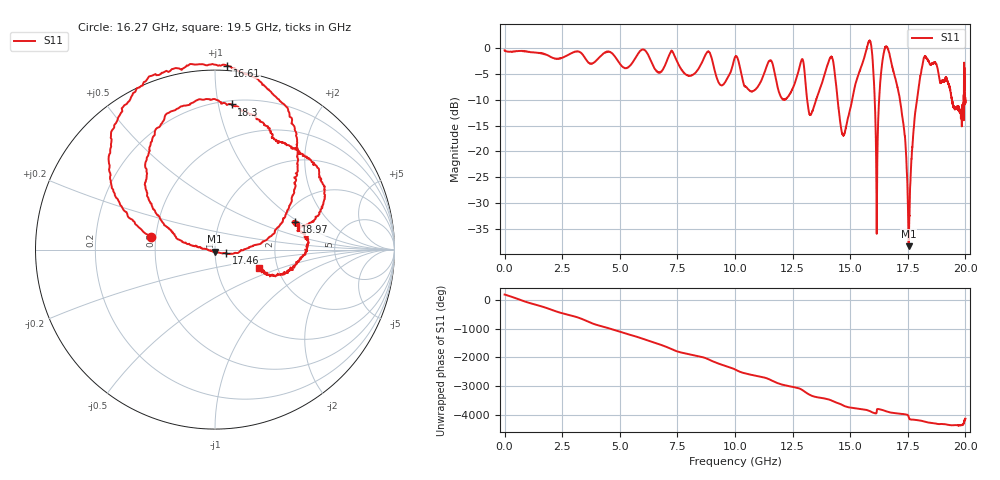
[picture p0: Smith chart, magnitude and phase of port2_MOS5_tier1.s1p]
! Created with skrf 1.8.0 (http://scikit-rf.org).
# GHz S RI R 50.0
!freq ReS11 ImS11
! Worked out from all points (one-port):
!   10000 points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, 3 MHz to 20 GHz, reference 50 ohm
!   lowest |S11| = -38.4 dB at 17.54 GHz (marker M1), VSWR 1.02, Z = 50 - j1.2 ohm
!   |S11| at or under -10 dB: 14.46 GHz to 15.09 GHz (631.8 MHz wide, 4.28 % of centre); 17.16 GHz to 17.9 GHz (737.2 MHz wide, 4.21 % of centre); 19.42 GHz to 19.93 GHz (508 MHz wide, 2.58 % of centre) (the widest 3 of 11)
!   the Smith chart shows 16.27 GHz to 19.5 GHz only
!   S11 on the Smith chart (normalised r, x): 16.27 GHz: 0.47, +0.07; 16.61 GHz: -0.03, +1.07; 17.46 GHz: 1.13, -0.05; 18.3 GHz: 0.23, +1.09; 18.97 GHz: 2.35, +0.93; 19.5 GHz: 1.60, -0.35
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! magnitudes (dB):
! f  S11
! 3 MHz  -0.4
! 2.503 GHz  -1.8
! 5.003 GHz  -3.0
! 7.503 GHz  -2.7
! 8.857 GHz  -0.6
! 9.427 GHz  -7.2
! 10 GHz  -1.7
! 10.66 GHz  -8.3
! 12.5 GHz  -7.8
! 12.92 GHz  -2.1
! 13.31 GHz  -12.8
! 14.17 GHz  -1.7
! 14.66 GHz  -16.6
! 15 GHz  -11.8
! 15.82 GHz  1.3
! 15.97 GHz  -1.9
! 16.13 GHz  -24.3
! 16.27 GHz  -8.9
! 16.61 GHz  0.2
! 17.21 GHz  -11.5
! 17.46 GHz  -23.6
! 17.5 GHz  -30.0
! 17.54 GHz  -38.4
! 17.87 GHz  -10.9
! 18.3 GHz  -1.8
! 18.97 GHz  -6.5
! 19.5 GHz  -11.5
! 20 GHz  -10.3
